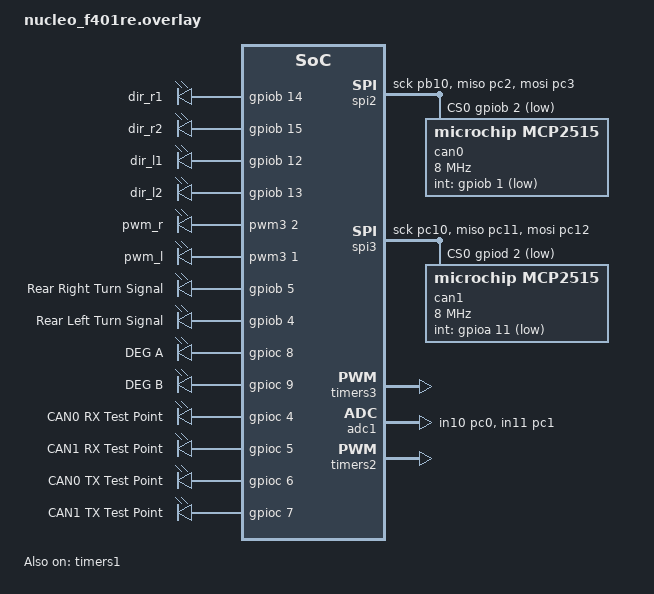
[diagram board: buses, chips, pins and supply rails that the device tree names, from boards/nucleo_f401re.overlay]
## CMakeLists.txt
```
cmake_minimum_required(VERSION 3.20.0)
find_package(Zephyr REQUIRED HINTS $ENV{ZEPHYR_BASE})
project(lab3_drivetrain)

target_sources(app PRIVATE
    src/main.c

    # Pure logic
    src/core/conn_state.c

    # Hardware drivers
    src/hw/l298n.c
    src/hw/encoders.c
    src/hw/adc.c
    src/hw/blinkers.c
    src/hw/can.c

    # System tasks
    src/sys/can_rx.c
    src/sys/relay.c
    src/sys/drive.c
    src/sys/pid.c
    src/sys/blinkers_control.c
    src/sys/hb_tx.c
    src/sys/hb_mon.c
    src/sys/health.c
)

target_include_directories(app PRIVATE src)
```

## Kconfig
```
mainmenu "Lab 3 Drivetrain Module Configuration"

source "Kconfig.zephyr"

config APP_DEBUG_LOGGING
    bool "Enable debug printk logging"
    default y
    help
      Enable this option to allow debug logging via printk throughout the application.
```

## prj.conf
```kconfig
CONFIG_GPIO=y
CONFIG_PWM=y
CONFIG_ADC=y
CONFIG_SENSOR=y

# Dual-CAN via MCP2515 over SPI
CONFIG_SPI=y
CONFIG_CAN=y
CONFIG_CAN_INIT_PRIORITY=80

# MCP2515 driver interrupt thread priority and filters
CONFIG_CAN_MCP2515_INT_THREAD_PRIO=1
CONFIG_CAN_MCP2515_MAX_FILTERS=16

# Set system tick to 1kHz
CONFIG_SYS_CLOCK_TICKS_PER_SEC=1000

# Console on USART2 (ST-Link)
CONFIG_CONSOLE=y
CONFIG_UART_CONSOLE=y
```

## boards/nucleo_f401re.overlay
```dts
/ {
    aliases {
        // Turn Signal LEDs
        led-right = &led_right;
        led-left = &led_left;

        // Drivetrain H-Bridge
        dir-r1 = &dir_r1;
        dir-r2 = &dir_r2;
        dir-l1 = &dir_l1;
        dir-l2 = &dir_l2;
        pwm-r = &pwm_r;
        pwm-l = &pwm_l;
    };

    drivetrain_dir {
        compatible = "gpio-leds";
        dir_r1: dir_r1 { gpios = <&gpiob 14 GPIO_ACTIVE_HIGH>; };
        dir_r2: dir_r2 { gpios = <&gpiob 15 GPIO_ACTIVE_HIGH>; };
        dir_l1: dir_l1 { gpios = <&gpiob 12 GPIO_ACTIVE_HIGH>; };
        dir_l2: dir_l2 { gpios = <&gpiob 13 GPIO_ACTIVE_HIGH>; };
    };

    drivetrain_pwm {
        compatible = "pwm-leds";
        pwm_r: pwm_r { pwms = <&pwm3 2 100000 PWM_POLARITY_NORMAL>; }; 
        pwm_l: pwm_l { pwms = <&pwm3 1 100000 PWM_POLARITY_NORMAL>; }; 
    };

    leds {
        compatible = "gpio-leds";

        led_right: right {
            gpios = <&gpiob 5 GPIO_ACTIVE_HIGH>;
            label = "Rear Right Turn Signal";
        };

        led_left: left {
            gpios = <&gpiob 4 GPIO_ACTIVE_HIGH>;
            label = "Rear Left Turn Signal";
        };
    };
};

// ============================================================
// CAN0 (MCP2515 on SPI2)
//   MISO -> PC2, MOSI -> PC3, SCLK -> PB10
//   CS   -> PB2, INT  -> PB1 (falling edge, internal pull-up)
// ============================================================
&spi2 {
    status = "okay";
    pinctrl-0 = <&spi2_sck_pb10 &spi2_miso_pc2 &spi2_mosi_pc3>;
    pinctrl-names = "default";
    cs-gpios = <&gpiob 2 (GPIO_ACTIVE_LOW | GPIO_PULL_UP)>;

    can0: mcp2515@0 {
        compatible = "microchip,mcp2515";
        reg = <0>;
        spi-max-frequency = <8000000>;
        osc-freq = <16000000>;
        int-gpios = <&gpiob 1 (GPIO_ACTIVE_LOW | GPIO_PULL_UP)>;
        bitrate = <500000>;
        status = "okay";
    };
};

// ============================================================
// CAN1 (MCP2515 on SPI3)
//   MISO -> PC11, MOSI -> PC12, SCLK -> PC10
//   CS   -> PD2,  INT  -> PA11 (falling edge, internal pull-up)
// ============================================================
&spi3 {
    status = "okay";
    pinctrl-0 = <&spi3_sck_pc10 &spi3_miso_pc11 &spi3_mosi_pc12>;
    pinctrl-names = "default";
    cs-gpios = <&gpiod 2 (GPIO_ACTIVE_LOW | GPIO_PULL_UP)>;

    can1: mcp2515@0 {
        compatible = "microchip,mcp2515";
        reg = <0>;
        spi-max-frequency = <8000000>;
        osc-freq = <16000000>;
        int-gpios = <&gpioa 11 (GPIO_ACTIVE_LOW | GPIO_PULL_UP)>;
        bitrate = <500000>;
        status = "okay";
    };
};

// Aliases for CAN bus interfaces
/ {
    aliases {
        can-a = &can0;
        can-b = &can1;
    };
};

// Drivetrain PWM Timer
&timers3 {
    status = "okay";
    pwm3: pwm {
        status = "okay";
        pinctrl-0 = <&tim3_ch1_pa6 &tim3_ch2_pa7>;
        pinctrl-names = "default";
    };
};

// Current Sensor ADC
&adc1 {
    status = "okay";
    pinctrl-0 = <&adc1_in10_pc0 &adc1_in11_pc1>;
    pinctrl-names = "default";
};

// Encoder Pullups
&tim1_ch1_pa8  { bias-pull-up; };
&tim1_ch2_pa9  { bias-pull-up; };
&tim2_ch1_pa0  { bias-pull-up; };
&tim2_ch2_pa1  { bias-pull-up; };

// Right Encoder Timer
&timers1 {
    status = "okay";
    qdec1: qdec {
        status = "okay";
        compatible = "st,stm32-qdec";
        pinctrl-0 = <&tim1_ch1_pa8 &tim1_ch2_pa9>;
        pinctrl-names = "default";
        st,counts-per-revolution = <360>; 
        st,encoder-mode = <3>;
    };
};

// Left Encoder Timer
&timers2 {
    status = "okay";
    
    // Disable the default PWM driver on TIM2 to prevent it from 
    // overriding our Quadrature Decoder configuration!
    pwm2: pwm {
        status = "disabled";
    };

    qdec2: qdec {
        status = "okay";
        compatible = "st,stm32-qdec";
        pinctrl-0 = <&tim2_ch1_pa0 &tim2_ch2_pa1>;
        pinctrl-names = "default";
        st,counts-per-revolution = <360>;
        st,encoder-mode = <3>;
    };
};

// Degraded-bus status LEDs (R4.7) and CAN Test Point Outputs
/ {
    leds {
        deg_a_led: deg_a {
            gpios = <&gpioc 8 GPIO_ACTIVE_HIGH>;
            label = "DEG A";
        };
        deg_b_led: deg_b {
            gpios = <&gpioc 9 GPIO_ACTIVE_HIGH>;
            label = "DEG B";
        };
        can0_rx_tp: can0_rx {
            gpios = <&gpioc 4 GPIO_ACTIVE_HIGH>;
            label = "CAN0 RX Test Point";
        };
        can1_rx_tp: can1_rx {
            gpios = <&gpioc 5 GPIO_ACTIVE_HIGH>;
            label = "CAN1 RX Test Point";
        };
        can0_tx_tp: can0_tx {
            gpios = <&gpioc 6 GPIO_ACTIVE_HIGH>;
            label = "CAN0 TX Test Point";
        };
        can1_tx_tp: can1_tx {
            gpios = <&gpioc 7 GPIO_ACTIVE_HIGH>;
            label = "CAN1 TX Test Point";
        };
    };
    aliases {
        deg-a = &deg_a_led;
        deg-b = &deg_b_led;
        can0-rx = &can0_rx_tp;
        can1-rx = &can1_rx_tp;
        can0-tx = &can0_tx_tp;
        can1-tx = &can1_tx_tp;
    };
};

// PA6 is TIM3_CH1 and PA7 is TIM3_CH2 (motor PWM). The board DTS assigns
// them to SPI1 MISO/MOSI. Console uses USART2 and CAN uses SPI2/SPI3, so
// disable usart1 and spi1 to prevent pin conflicts.
&usart1 {
    status = "disabled";
};

&spi1 {
    status = "disabled";
};
```

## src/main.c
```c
#include <zephyr/kernel.h>
#include "hw/l298n.h"
#include "hw/encoders.h"
#include "hw/adc.h"
#include "hw/blinkers.h"
#include "hw/can.h"
#include "sys/can_rx.h"
#include "sys/relay.h"
#include "sys/drive.h"
#include "sys/pid.h"
#include "sys/blinkers_control.h"
#include "sys/hb_tx.h"
#include "sys/hb_mon.h"
#include "sys/health.h"
#include "core/log.h"

int main(void)
{
    DEBUG_PRINT("=== Lab 3 N3 (Drivetrain): Initializing ===\n");

    /* ── Hardware layer ──────────────────────────────────── */
    DEBUG_PRINT("[HW] Initializing...\n");
    if (l298n_init()    != 0) return -1;
    if (encoders_init() != 0) return -1;
    if (adc_init()      != 0) return -1;
    if (blinkers_init() != 0) return -1;
    if (can_bus_init()  != 0) return -1;

    can_log_state();

    /* ── System tasks (in priority order, lowest number = highest prio) ── */
    DEBUG_PRINT("[SYS] Starting tasks...\n");

    relay_init();            /* prio 2 — RELAY (5 ms check, forwards frames)  */
    can_rx_init();           /* prio 1 (MCP2515 driver thread) — RX dispatch  */
    drive_init();            /* prio 3 — DRIVE (throttle/brake on CTRL)        */
    blinkers_control_init(); /* prio 4 — BLINK_R (rear LEDs on BLINK)          */
    pid_init();              /* prio 4 — PID velocity loop (10ms)              */
    health_init();           /* prio 5 — TEST_BTN, prio 9 — watchdog          */
    hb_tx_init();            /* prio 6 — HB_TX (0x102 every 20ms)              */
    hb_mon_init();           /* prio 7 — HB_MON + DEG_A/B LEDs (every 20ms)   */

    DEBUG_PRINT("=== Initialization complete. Zephyr scheduler active. ===\n");

    return 0;    /* main() exits; all work happens in the tasks above */
}
```
